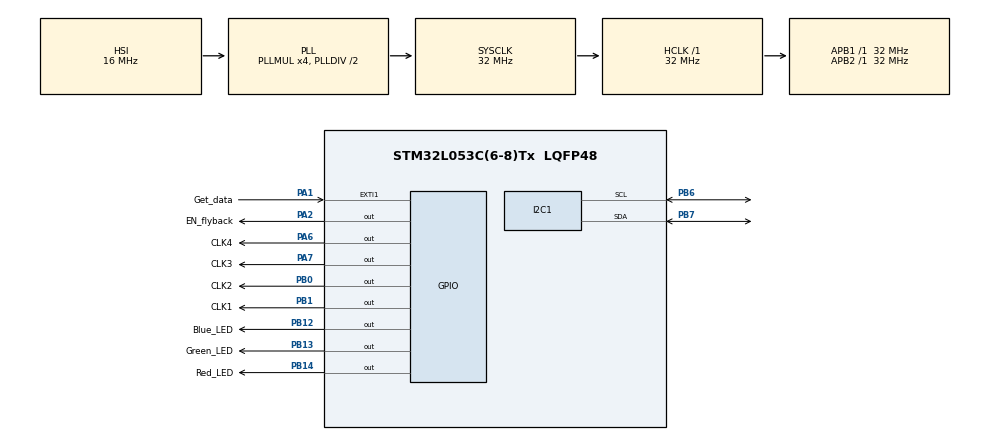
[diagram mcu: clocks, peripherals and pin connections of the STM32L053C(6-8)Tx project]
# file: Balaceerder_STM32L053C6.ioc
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Mcu.Family=STM32L0
RCC.MSI_VALUE=2097000
PB14.GPIO_Label=Red_LED
PA6.GPIO_Label=CLK4
PB0.GPIO_Label=CLK2
PB13.GPIO_Label=Green_LED
PB13.Signal=GPIO_Output
RCC.SYSCLKSource=RCC_SYSCLKSOURCE_PLLCLK
ProjectManager.StackSize=0x400
PB0.GPIO_Speed=GPIO_SPEED_FREQ_VERY_HIGH
PA13.Signal=SYS_SWDIO
RCC.HSI16_VALUE=16000000
PB14.PinState=GPIO_PIN_SET
ProjectManager.TargetToolchain=STM32CubeIDE
RCC.HCLKFreq_Value=32000000
RCC.APB2TimFreq_Value=32000000
PB6.Signal=I2C1_SCL
I2C1.Timing=0x00707CBB
PB12.PinState=GPIO_PIN_SET
PB6.Mode=I2C
RCC.LSE_VALUE=32768
PA1.Signal=GPXTI1
RCC.AHBFreq_Value=32000000
PB14.Signal=GPIO_Output
RCC.HSE_VALUE=8000000
board=custom
RCC.VCOOutputFreq_Value=64000000
RCC.PLLMUL=RCC_PLLMUL_4
PA7.GPIO_Speed=GPIO_SPEED_FREQ_VERY_HIGH
PB12.GPIO_Label=Blue_LED
PA2.PinState=GPIO_PIN_SET
RCC.APB2Freq_Value=32000000
PB13.PinState=GPIO_PIN_SET
PB1.GPIO_Speed=GPIO_SPEED_FREQ_VERY_HIGH
PA14.Mode=Serial_Wire
PB1.GPIO_Label=CLK1
PA1.GPIO_Label=Get_data
PB7.Signal=I2C1_SDA
PA13.Mode=Serial_Wire
Mcu.Name=STM32L053C(6-8)Tx
PA2.Signal=GPIO_Output
RCC.SYSCLKFreq_VALUE=32000000
Mcu.Package=LQFP48
PB1.Signal=GPIO_Output
PA6.Signal=GPIO_Output
PA7.GPIO_Label=CLK3
PA2.GPIO_Label=EN_flyback
PB7.Mode=I2C
PA14.Signal=SYS_SWCLK
ProjectManager.HeapSize=0x200
RCC.HSI_VALUE=16000000
RCC.APB1TimFreq_Value=32000000
PA6.GPIO_Speed=GPIO_SPEED_FREQ_VERY_HIGH
RCC.APB1Freq_Value=32000000
PB0.Signal=GPIO_Output
PB12.Signal=GPIO_Output
RCC.HSI48_VALUE=48000000
PA7.Signal=GPIO_Output

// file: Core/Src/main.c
/* USER CODE BEGIN Header */
/**
  ******************************************************************************
  * @file           : main.c
  * @brief          : Main program body
  ******************************************************************************
  * @attention
  *
  * <h2><center>&copy; Copyright (c) 2021 STMicroelectronics.
  * All rights reserved.</center></h2>
  *
  * This software component is licensed by ST under BSD 3-Clause license,
  * the "License"; You may not use this file except in compliance with the
  * License. You may obtain a copy of the License at:
  *                        opensource.org/licenses/BSD-3-Clause
  *
  ******************************************************************************
  */
/* USER CODE END Header */
#include "main.h"

/* USER CODE BEGIN Includes */
// #include <stdio.h>
// #include "AT_Comands_variables.h"
//#include "string.h"
/* USER CODE END Includes */

/* USER CODE BEGIN PD */
// #define RxBufferLength 	8
/* USER CODE END PD */

I2C_HandleTypeDef hi2c1;

/* USER CODE BEGIN PV */
/*uint8_t rxBuffer[RxBufferLength];
uint8_t rxByte;
uint16_t rxIdx;
uint8_t rxFlag;*/
uint8_t en_clk1;
uint8_t en_clk2;
uint8_t en_clk3;
uint8_t en_clk4;
/* USER CODE END PV */

void SystemClock_Config(void);
static void MX_GPIO_Init(void);
static void MX_I2C1_Init(void);

/* USER CODE BEGIN 0 */
void RGBTurnOff() {
	HAL_GPIO_WritePin(Red_LED_GPIO_Port, Red_LED_Pin, GPIO_PIN_SET);
	HAL_GPIO_WritePin(Green_LED_GPIO_Port, Green_LED_Pin, GPIO_PIN_SET);
	HAL_GPIO_WritePin(Blue_LED_GPIO_Port, Blue_LED_Pin, GPIO_PIN_SET);
}
void RGBTurnRED() {
	HAL_GPIO_WritePin(Red_LED_GPIO_Port, Red_LED_Pin, GPIO_PIN_RESET);
	HAL_GPIO_WritePin(Green_LED_GPIO_Port, Green_LED_Pin, GPIO_PIN_SET);
	HAL_GPIO_WritePin(Blue_LED_GPIO_Port, Blue_LED_Pin, GPIO_PIN_SET);
}
void RGBTurnBlue() {
	HAL_GPIO_WritePin(Red_LED_GPIO_Port, Red_LED_Pin, GPIO_PIN_SET);
	HAL_GPIO_WritePin(Green_LED_GPIO_Port, Green_LED_Pin, GPIO_PIN_SET);
	HAL_GPIO_WritePin(Blue_LED_GPIO_Port, Blue_LED_Pin, GPIO_PIN_RESET);
}
void RGBTurnGreen() {
	HAL_GPIO_WritePin(Red_LED_GPIO_Port, Red_LED_Pin, GPIO_PIN_SET);
	HAL_GPIO_WritePin(Green_LED_GPIO_Port, Green_LED_Pin, GPIO_PIN_RESET);
	HAL_GPIO_WritePin(Blue_LED_GPIO_Port, Blue_LED_Pin, GPIO_PIN_SET);
}

/*void printDecimal(int data) {
	char buffer1[16];
	HAL_UART_Transmit(&huart1, (uint8_t*) buffer1,
			sprintf(buffer1, "%d\r\n", data), 500);

}

void printFloat(float dataFloat) {
	char buffer1[16];
	HAL_UART_Transmit(&huart1, (uint8_t*) buffer1,
			sprintf(buffer1, "%+.4f\r\n", dataFloat), 500);
}

void printHex(uint16_t data) {
	char buffer[16];
	HAL_UART_Transmit(&huart1, (uint8_t*) buffer,
			sprintf(buffer, "0x%04X\r\n", data), 500);

}
void printString(char *str) {
	HAL_UART_Transmit(&huart1, (uint8_t*) str, strlen(str), 100);
}
void printlnString(char *str) {

	HAL_UART_Transmit(&huart1, (uint8_t*) str, strlen(str), 100);
	printString("\r\n");
}

void printAT_Comand_Error(int errorNr) {
	printString("ERROR ");
	printDecimal(errorNr);
}
int str_cut(char *str, int begin, int len) {
	int l = strlen(str);

	if (len < 0)
		len = l - begin;
	if (begin + len > l)
		len = l - begin;
	memmove(str + begin, str + begin + len, l - len + 1);

	return len;
}

uint32_t stringToInt(char *str) {
	str_cut(str, 4, -1);

	//int l = strlen(str);
	return str[0] << 24 | str[1] << 16 | str[2] << 8 | str[3];

}

void HAL_UART_RxCpltCallback(UART_HandleTypeDef *huart) {
	if (huart->Instance == USART1) {
		__HAL_UART_FLUSH_DRREGISTER(&huart1);
		if (rxByte == 13 || rxByte == 10 || rxIdx >= 23) {
			//rxBuffer[rxIdx] = rxByte;
			rxFlag = 1;
			rxIdx = 0;
		} else {
			rxBuffer[rxIdx] = rxByte;
			rxIdx++;
		}
	}

}*/

/* USER CODE END 0 */

int main(void)
{

  /* MCU Configuration--------------------------------------------------------*/

  /* Reset of all peripherals, Initializes the Flash interface and the Systick. */
  HAL_Init();

  /* Configure the system clock */
  SystemClock_Config();

  /* Initialize all configured peripherals */
  MX_GPIO_Init();
  MX_I2C1_Init();
  /* USER CODE BEGIN 2 */
  RGBTurnRED();
  HAL_GPIO_WritePin(EN_flyback_GPIO_Port, EN_flyback_Pin, GPIO_PIN_RESET);
/*  HAL_TIM_Base_Start_IT(&htim22);
  HAL_TIM_PWM_Start_IT(&htim22, TIM_CHANNEL_1);
  HAL_Delay(1000);
  HAL_TIM_PWM_Stop_IT(&htim22, TIM_CHANNEL_1);
  HAL_Delay(1000);*/
  en_clk1 = 1;
  en_clk2 = 0;
  en_clk3 = 0;
  en_clk4 = 1;

  RGBTurnGreen();
  /* USER CODE END 2 */

  /* Infinite loop */
  /* USER CODE BEGIN WHILE */
  while (1)
  {
	  /*RGBTurnRED();
	  HAL_Delay(1000);
	  RGBTurnGreen();
	  HAL_Delay(1000);
	  RGBTurnBlue();
	  HAL_Delay(1000);
	  RGBTurnOff();
	  HAL_Delay(1000);
	  HAL_GPIO_WritePin(EN_flyback_GPIO_Port, EN_flyback_Pin, GPIO_PIN_SET);
	  HAL_Delay(10000);
	  HAL_GPIO_WritePin(EN_flyback_GPIO_Port, EN_flyback_Pin, GPIO_PIN_RESET);*/

	  //HAL_GPIO_TogglePin(CLK1_GPIO_Port, CLK1_Pin);

	  if(en_clk1!=0)HAL_GPIO_TogglePin(CLK1_GPIO_Port, CLK1_Pin);
	  if(en_clk2!=0)HAL_GPIO_TogglePin(CLK2_GPIO_Port, CLK2_Pin);
	  if(en_clk3!=0)HAL_GPIO_TogglePin(CLK3_GPIO_Port, CLK3_Pin);
	  if(en_clk4!=0)HAL_GPIO_TogglePin(CLK4_GPIO_Port, CLK4_Pin);

    /* USER CODE END WHILE */

  }
}

void SystemClock_Config(void)
{
  RCC_OscInitTypeDef RCC_OscInitStruct = {0};
  RCC_ClkInitTypeDef RCC_ClkInitStruct = {0};
  RCC_PeriphCLKInitTypeDef PeriphClkInit = {0};

  /** Configure the main internal regulator output voltage
  */
  __HAL_PWR_VOLTAGESCALING_CONFIG(PWR_REGULATOR_VOLTAGE_SCALE1);
  /** Initializes the RCC Oscillators according to the specified parameters
  * in the RCC_OscInitTypeDef structure.
  */
  RCC_OscInitStruct.OscillatorType = RCC_OSCILLATORTYPE_HSI;
  RCC_OscInitStruct.HSIState = RCC_HSI_ON;
  RCC_OscInitStruct.HSICalibrationValue = RCC_HSICALIBRATION_DEFAULT;
  RCC_OscInitStruct.PLL.PLLState = RCC_PLL_ON;
  RCC_OscInitStruct.PLL.PLLSource = RCC_PLLSOURCE_HSI;
  RCC_OscInitStruct.PLL.PLLMUL = RCC_PLLMUL_4;
  RCC_OscInitStruct.PLL.PLLDIV = RCC_PLLDIV_2;
  if (HAL_RCC_OscConfig(&RCC_OscInitStruct) != HAL_OK)
  {
    Error_Handler();
  }
  /** Initializes the CPU, AHB and APB buses clocks
  */
  RCC_ClkInitStruct.ClockType = RCC_CLOCKTYPE_HCLK|RCC_CLOCKTYPE_SYSCLK
                              |RCC_CLOCKTYPE_PCLK1|RCC_CLOCKTYPE_PCLK2;
  RCC_ClkInitStruct.SYSCLKSource = RCC_SYSCLKSOURCE_PLLCLK;
  RCC_ClkInitStruct.AHBCLKDivider = RCC_SYSCLK_DIV1;
  RCC_ClkInitStruct.APB1CLKDivider = RCC_HCLK_DIV1;
  RCC_ClkInitStruct.APB2CLKDivider = RCC_HCLK_DIV1;

  if (HAL_RCC_ClockConfig(&RCC_ClkInitStruct, FLASH_LATENCY_1) != HAL_OK)
  {
    Error_Handler();
  }
  PeriphClkInit.PeriphClockSelection = RCC_PERIPHCLK_I2C1;
  PeriphClkInit.I2c1ClockSelection = RCC_I2C1CLKSOURCE_PCLK1;
  if (HAL_RCCEx_PeriphCLKConfig(&PeriphClkInit) != HAL_OK)
  {
    Error_Handler();
  }
}

static void MX_I2C1_Init(void)
{

  hi2c1.Instance = I2C1;
  hi2c1.Init.Timing = 0x00707CBB;
  hi2c1.Init.OwnAddress1 = 0;
  hi2c1.Init.AddressingMode = I2C_ADDRESSINGMODE_7BIT;
  hi2c1.Init.DualAddressMode = I2C_DUALADDRESS_DISABLE;
  hi2c1.Init.OwnAddress2 = 0;
  hi2c1.Init.OwnAddress2Masks = I2C_OA2_NOMASK;
  hi2c1.Init.GeneralCallMode = I2C_GENERALCALL_DISABLE;
  hi2c1.Init.NoStretchMode = I2C_NOSTRETCH_DISABLE;
  if (HAL_I2C_Init(&hi2c1) != HAL_OK)
  {
    Error_Handler();
  }
  /** Configure Analogue filter
  */
  if (HAL_I2CEx_ConfigAnalogFilter(&hi2c1, I2C_ANALOGFILTER_ENABLE) != HAL_OK)
  {
    Error_Handler();
  }
  /** Configure Digital filter
  */
  if (HAL_I2CEx_ConfigDigitalFilter(&hi2c1, 0) != HAL_OK)
  {
    Error_Handler();
  }

}

static void MX_GPIO_Init(void)
{
  GPIO_InitTypeDef GPIO_InitStruct = {0};

  /* GPIO Ports Clock Enable */
  __HAL_RCC_GPIOA_CLK_ENABLE();
  __HAL_RCC_GPIOB_CLK_ENABLE();

  /*Configure GPIO pin Output Level */
  HAL_GPIO_WritePin(EN_flyback_GPIO_Port, EN_flyback_Pin, GPIO_PIN_SET);

  /*Configure GPIO pin Output Level */
  HAL_GPIO_WritePin(GPIOA, CLK4_Pin|CLK3_Pin, GPIO_PIN_RESET);

  /*Configure GPIO pin Output Level */
  HAL_GPIO_WritePin(GPIOB, CLK2_Pin|CLK1_Pin, GPIO_PIN_RESET);

  /*Configure GPIO pin Output Level */
  HAL_GPIO_WritePin(GPIOB, Blue_LED_Pin|Green_LED_Pin|Red_LED_Pin, GPIO_PIN_SET);

  /*Configure GPIO pin : Get_data_Pin */
  GPIO_InitStruct.Pin = Get_data_Pin;
  GPIO_InitStruct.Mode = GPIO_MODE_IT_RISING;
  GPIO_InitStruct.Pull = GPIO_NOPULL;
  HAL_GPIO_Init(Get_data_GPIO_Port, &GPIO_InitStruct);

  /*Configure GPIO pin : EN_flyback_Pin */
  GPIO_InitStruct.Pin = EN_flyback_Pin;
  GPIO_InitStruct.Mode = GPIO_MODE_OUTPUT_PP;
  GPIO_InitStruct.Pull = GPIO_NOPULL;
  GPIO_InitStruct.Speed = GPIO_SPEED_FREQ_LOW;
  HAL_GPIO_Init(EN_flyback_GPIO_Port, &GPIO_InitStruct);

  /*Configure GPIO pins : CLK4_Pin CLK3_Pin */
  GPIO_InitStruct.Pin = CLK4_Pin|CLK3_Pin;
  GPIO_InitStruct.Mode = GPIO_MODE_OUTPUT_PP;
  GPIO_InitStruct.Pull = GPIO_NOPULL;
  GPIO_InitStruct.Speed = GPIO_SPEED_FREQ_VERY_HIGH;
  HAL_GPIO_Init(GPIOA, &GPIO_InitStruct);

  /*Configure GPIO pins : CLK2_Pin CLK1_Pin */
  GPIO_InitStruct.Pin = CLK2_Pin|CLK1_Pin;
  GPIO_InitStruct.Mode = GPIO_MODE_OUTPUT_PP;
  GPIO_InitStruct.Pull = GPIO_NOPULL;
  GPIO_InitStruct.Speed = GPIO_SPEED_FREQ_VERY_HIGH;
  HAL_GPIO_Init(GPIOB, &GPIO_InitStruct);

  /*Configure GPIO pins : Blue_LED_Pin Green_LED_Pin Red_LED_Pin */
  GPIO_InitStruct.Pin = Blue_LED_Pin|Green_LED_Pin|Red_LED_Pin;
  GPIO_InitStruct.Mode = GPIO_MODE_OUTPUT_PP;
  GPIO_InitStruct.Pull = GPIO_NOPULL;
  GPIO_InitStruct.Speed = GPIO_SPEED_FREQ_LOW;
  HAL_GPIO_Init(GPIOB, &GPIO_InitStruct);

}

void Error_Handler(void)
{
  __disable_irq();
  while (1)
  {
  }
}

/************************ (C) COPYRIGHT STMicroelectronics *****END OF FILE****/
